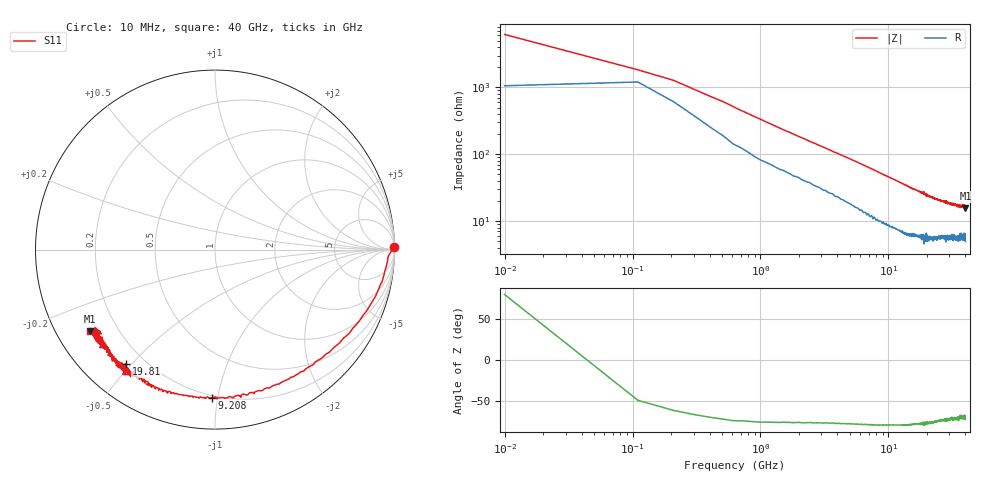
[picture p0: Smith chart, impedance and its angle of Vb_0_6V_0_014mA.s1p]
!Agilent Technologies,N5247A,US51170167,A.09.90.10
!Agilent N5247A: A.09.90.10
!Date: Tuesday, November 22, 2016 15:29:28
!Correction: S22(Full 1 Port(2))
!S1P File: Measurement: S22:
# Hz S  RI  R 50
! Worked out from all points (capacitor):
!   401 points, 10 MHz to 40 GHz, reference 50 ohm
!   read as one part to ground: C = 607 fF near 209.9 MHz
!   lowest |Z| = 15.5 ohm at 40 GHz (marker M1)
!   S11 on the Smith chart (normalised r, x): 10 MHz: open; 9.208 GHz: 0.19, -0.96; 19.81 GHz: 0.13, -0.48; 40 GHz: 0.10, -0.29
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1e7  0.9971 0.0158
9.09775e8  0.9012 -0.2455
1.40965e9  0.8423 -0.3449
2.0095e9  0.7671 -0.4388
3.309175e9  0.6066 -0.5931
4.009e9  0.5256 -0.6519
5.00875e9  0.4124 -0.7202
6.20845e9  0.2777 -0.7743
7.00825e9  0.1931 -0.7975
9.2077e9  -0.0173 -0.8251
1.00075e10  -0.0702 -0.8251
1.24069e10  -0.2329 -0.797
1.500625e10  -0.3706 -0.7457
1.790552e10  -0.4586 -0.7024
1.980505e10  -0.4936 -0.638
2.0005e10  -0.5026 -0.6755
2.290428e10  -0.5746 -0.6093
2.500375e10  -0.5913 -0.5726
3.00025e10  -0.621 -0.5116
3.100225e10  -0.635 -0.511
3.190202e10  -0.6259 -0.4993
3.500125e10  -0.6495 -0.4922
3.52012e10  -0.6512 -0.4727
3.650088e10  -0.6472 -0.4728
3.80005e10  -0.6527 -0.4579
3.890028e10  -0.677 -0.4762
3.970008e10  -0.6681 -0.4944
4e10  -0.6984 -0.4547
